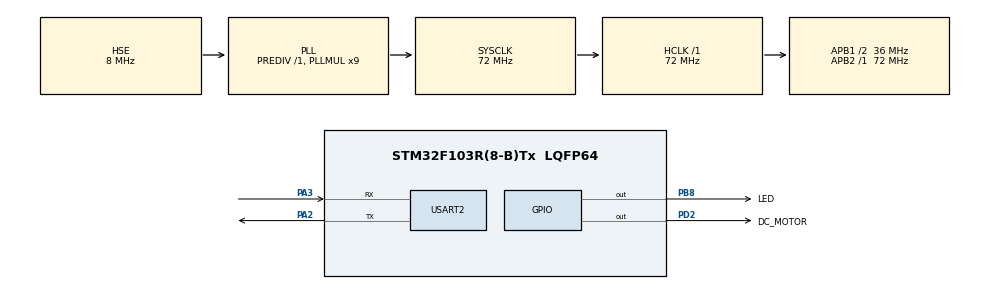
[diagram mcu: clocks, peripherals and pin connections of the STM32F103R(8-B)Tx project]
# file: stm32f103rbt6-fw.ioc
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Mcu.Family=STM32F1
Mcu.Name=STM32F103R(8-B)Tx
Mcu.Package=LQFP64
NVIC.PriorityGroup=NVIC_PRIORITYGROUP_4
PA2.Mode=Asynchronous
PA2.Signal=USART2_TX
PA3.Mode=Asynchronous
PA3.Signal=USART2_RX
PB8.GPIO_Label=LED
PB8.Signal=GPIO_Output
PD0-OSC_IN.Mode=HSE-External-Oscillator
PD0-OSC_IN.Signal=RCC_OSC_IN
PD1-OSC_OUT.Mode=HSE-External-Oscillator
PD1-OSC_OUT.Signal=RCC_OSC_OUT
PD2.GPIO_Label=DC_MOTOR
PD2.Signal=GPIO_Output
ProjectManager.HeapSize=0x200
ProjectManager.StackSize=0x400
ProjectManager.TargetToolchain=Makefile
RCC.AHBFreq_Value=72000000
RCC.APB1CLKDivider=RCC_HCLK_DIV2
RCC.APB1Freq_Value=36000000
RCC.APB1TimFreq_Value=72000000
RCC.APB2Freq_Value=72000000
RCC.APB2TimFreq_Value=72000000
RCC.HCLKFreq_Value=72000000
RCC.PLLMUL=RCC_PLL_MUL9
RCC.PLLSourceVirtual=RCC_PLLSOURCE_HSE
RCC.SYSCLKFreq_VALUE=72000000
RCC.SYSCLKSource=RCC_SYSCLKSOURCE_PLLCLK
RCC.USBFreq_Value=72000000
USART2.VirtualMode=VM_ASYNC
VP_SYS_VS_ND.Mode=No_Debug
board=custom

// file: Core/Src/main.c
/* USER CODE BEGIN Header */
/**
 ******************************************************************************
 * @file           : main.c
 * @brief          : Main program body
 ******************************************************************************
 * @attention
 *
 * Copyright (c) 2023 STMicroelectronics.
 * All rights reserved.
 *
 * This software is licensed under terms that can be found in the LICENSE file
 * in the root directory of this software component.
 * If no LICENSE file comes with this software, it is provided AS-IS.
 *
 ******************************************************************************
 */
/* USER CODE END Header */
#include "main.h"

/* USER CODE BEGIN Includes */
#include <stdio.h>
/* USER CODE END Includes */

UART_HandleTypeDef huart2;

void SystemClock_Config(void);
static void MX_GPIO_Init(void);
static void MX_USART2_UART_Init(void);

/* USER CODE BEGIN 0 */
#include <stdarg.h>
int u_printf(const char *format, ...)
{
	char loc_buf[256];
	va_list arg;
	va_list copy;
	va_start(arg, format);
	va_copy(copy, arg);
	int len = vsnprintf(loc_buf, sizeof(loc_buf), format, copy);
	va_end(copy);
	va_end(arg);

	if (len > 0 && len <= 256)
	{
		HAL_UART_Transmit(&huart2, (uint8_t *)loc_buf, len, 0xFF);
	}
	return len;
}

/* USER CODE END 0 */

int main(void)
{

  /* MCU Configuration--------------------------------------------------------*/

  /* Reset of all peripherals, Initializes the Flash interface and the Systick. */
  HAL_Init();

  /* Configure the system clock */
  SystemClock_Config();

  /* Initialize all configured peripherals */
  MX_GPIO_Init();
  MX_USART2_UART_Init();

  /* Infinite loop */
  /* USER CODE BEGIN WHILE */
  uint8_t bCnt = 0;
  while (1)
  {
    /* USER CODE END WHILE */

    /* USER CODE BEGIN 3 */

    // 直流电机运行10秒，停10秒
    if (bCnt % 10 == 0) {
      /**********begin**********/

      // DC_MOTOR_GPIO_Port DC_MOTOR_Pin
      //////////////////////////////////////////////////////////////////// PS: The answer is as follows:

      HAL_GPIO_WritePin(DC_MOTOR_GPIO_Port, DC_MOTOR_Pin, GPIO_PIN_SET);
      HAL_Delay(1000);
      HAL_GPIO_WritePin(DC_MOTOR_GPIO_Port, DC_MOTOR_Pin, GPIO_PIN_RESET);

      ////////////////////////////////////////////////////////////////////// PS: End of question answer.

      /***********end**********/
    }

    bCnt++;
    HAL_Delay(1000);
  }
  /* USER CODE END 3 */
}

void SystemClock_Config(void)
{
  RCC_OscInitTypeDef RCC_OscInitStruct = {0};
  RCC_ClkInitTypeDef RCC_ClkInitStruct = {0};

  /** Initializes the RCC Oscillators according to the specified parameters
  * in the RCC_OscInitTypeDef structure.
  */
  RCC_OscInitStruct.OscillatorType = RCC_OSCILLATORTYPE_HSE;
  RCC_OscInitStruct.HSEState = RCC_HSE_ON;
  RCC_OscInitStruct.HSEPredivValue = RCC_HSE_PREDIV_DIV1;
  RCC_OscInitStruct.HSIState = RCC_HSI_ON;
  RCC_OscInitStruct.PLL.PLLState = RCC_PLL_ON;
  RCC_OscInitStruct.PLL.PLLSource = RCC_PLLSOURCE_HSE;
  RCC_OscInitStruct.PLL.PLLMUL = RCC_PLL_MUL9;
  if (HAL_RCC_OscConfig(&RCC_OscInitStruct) != HAL_OK)
  {
    Error_Handler();
  }

  /** Initializes the CPU, AHB and APB buses clocks
  */
  RCC_ClkInitStruct.ClockType = RCC_CLOCKTYPE_HCLK|RCC_CLOCKTYPE_SYSCLK
                              |RCC_CLOCKTYPE_PCLK1|RCC_CLOCKTYPE_PCLK2;
  RCC_ClkInitStruct.SYSCLKSource = RCC_SYSCLKSOURCE_PLLCLK;
  RCC_ClkInitStruct.AHBCLKDivider = RCC_SYSCLK_DIV1;
  RCC_ClkInitStruct.APB1CLKDivider = RCC_HCLK_DIV2;
  RCC_ClkInitStruct.APB2CLKDivider = RCC_HCLK_DIV1;

  if (HAL_RCC_ClockConfig(&RCC_ClkInitStruct, FLASH_LATENCY_2) != HAL_OK)
  {
    Error_Handler();
  }
}

static void MX_USART2_UART_Init(void)
{

  huart2.Instance = USART2;
  huart2.Init.BaudRate = 115200;
  huart2.Init.WordLength = UART_WORDLENGTH_8B;
  huart2.Init.StopBits = UART_STOPBITS_1;
  huart2.Init.Parity = UART_PARITY_NONE;
  huart2.Init.Mode = UART_MODE_TX_RX;
  huart2.Init.HwFlowCtl = UART_HWCONTROL_NONE;
  huart2.Init.OverSampling = UART_OVERSAMPLING_16;
  if (HAL_UART_Init(&huart2) != HAL_OK)
  {
    Error_Handler();
  }

}

static void MX_GPIO_Init(void)
{
  GPIO_InitTypeDef GPIO_InitStruct = {0};

  /* GPIO Ports Clock Enable */
  __HAL_RCC_GPIOD_CLK_ENABLE();
  __HAL_RCC_GPIOA_CLK_ENABLE();
  __HAL_RCC_GPIOB_CLK_ENABLE();

  /*Configure GPIO pin Output Level */
  HAL_GPIO_WritePin(DC_MOTOR_GPIO_Port, DC_MOTOR_Pin, GPIO_PIN_RESET);

  /*Configure GPIO pin Output Level */
  HAL_GPIO_WritePin(LED_GPIO_Port, LED_Pin, GPIO_PIN_RESET);

  /*Configure GPIO pin : DC_MOTOR_Pin */
  GPIO_InitStruct.Pin = DC_MOTOR_Pin;
  GPIO_InitStruct.Mode = GPIO_MODE_OUTPUT_PP;
  GPIO_InitStruct.Pull = GPIO_NOPULL;
  GPIO_InitStruct.Speed = GPIO_SPEED_FREQ_LOW;
  HAL_GPIO_Init(DC_MOTOR_GPIO_Port, &GPIO_InitStruct);

  /*Configure GPIO pin : LED_Pin */
  GPIO_InitStruct.Pin = LED_Pin;
  GPIO_InitStruct.Mode = GPIO_MODE_OUTPUT_PP;
  GPIO_InitStruct.Pull = GPIO_NOPULL;
  GPIO_InitStruct.Speed = GPIO_SPEED_FREQ_LOW;
  HAL_GPIO_Init(LED_GPIO_Port, &GPIO_InitStruct);

}

void Error_Handler(void)
{
  __disable_irq();
  while (1)
  {
  }
}

#ifdef  USE_FULL_ASSERT
/**
  * @brief  Reports the name of the source file and the source line number
  *         where the assert_param error has occurred.
  * @param  file: pointer to the source file name
  * @param  line: assert_param error line source number
  * @retval None
  */
void assert_failed(uint8_t *file, uint32_t line)
{
  /* USER CODE BEGIN 6 */
  /* User can add his own implementation to report the file name and line number,
     ex: printf("Wrong parameters value: file %s on line %d\r\n", file, line) */
  printf("Wrong parameters value: file %s on line %ld\r\n", file, line);
  /* USER CODE END 6 */
}
#endif /* USE_FULL_ASSERT */
